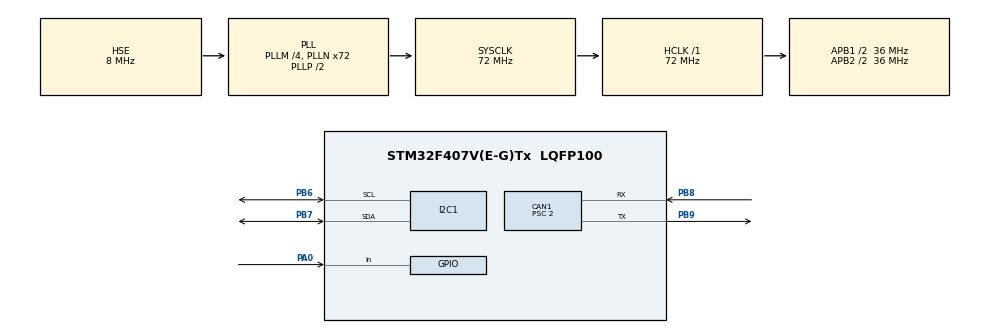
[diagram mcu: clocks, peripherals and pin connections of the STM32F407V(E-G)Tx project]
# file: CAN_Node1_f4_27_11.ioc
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CAN1.BS1=CAN_BS1_15TQ
CAN1.BS2=CAN_BS2_2TQ
CAN1.CalculateBaudRate=1000000
CAN1.CalculateTimeBit=1000
CAN1.CalculateTimeQuantum=55.55555555555556
CAN1.Prescaler=2
Mcu.Family=STM32F4
Mcu.Name=STM32F407V(E-G)Tx
Mcu.Package=LQFP100
NVIC.CAN1_RX0_IRQn=true\:0\:0\:false\:false\:true\:true\:true\:true
NVIC.PriorityGroup=NVIC_PRIORITYGROUP_0
NVIC.TIM7_IRQn=true\:0\:0\:false\:false\:true\:true\:true\:true
PA0-WKUP.Signal=GPIO_Input
PB6.Mode=I2C
PB6.Signal=I2C1_SCL
PB7.Mode=I2C
PB7.Signal=I2C1_SDA
PB8.Mode=CAN_Activate
PB8.Signal=CAN1_RX
PB9.Mode=CAN_Activate
PB9.Signal=CAN1_TX
PH0-OSC_IN.Mode=HSE-External-Oscillator
PH0-OSC_IN.Signal=RCC_OSC_IN
PH1-OSC_OUT.Mode=HSE-External-Oscillator
PH1-OSC_OUT.Signal=RCC_OSC_OUT
ProjectManager.HeapSize=0x200
ProjectManager.StackSize=0x400
ProjectManager.TargetToolchain=EWARM V8.50
RCC.48MHZClocksFreq_Value=20571428.57142857
RCC.AHBFreq_Value=72000000
RCC.APB1CLKDivider=RCC_HCLK_DIV2
RCC.APB1Freq_Value=36000000
RCC.APB1TimFreq_Value=72000000
RCC.APB2CLKDivider=RCC_HCLK_DIV2
RCC.APB2Freq_Value=36000000
RCC.APB2TimFreq_Value=72000000
RCC.CortexFreq_Value=72000000
RCC.HCLKFreq_Value=72000000
RCC.HSE_VALUE=8000000
RCC.HSI_VALUE=16000000
RCC.PLLM=4
RCC.PLLN=72
RCC.PLLQ=7
RCC.PLLSourceVirtual=RCC_PLLSOURCE_HSE
RCC.SYSCLKFreq_VALUE=72000000
RCC.SYSCLKSource=RCC_SYSCLKSOURCE_PLLCLK
RCC.VCOOutputFreq_Value=144000000
TIM6.Period=0xffff-1
TIM6.Prescaler=72-1
TIM7.Period=10000-1
TIM7.Prescaler=7200-1
VP_TIM6_VS_ClockSourceINT.Mode=Enable_Timer
VP_TIM7_VS_ClockSourceINT.Mode=Enable_Timer
board=STM32F407G-DISC1

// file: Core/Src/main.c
/* USER CODE BEGIN Header */
/**
  ******************************************************************************
  * @file           : main.c
  * @brief          : Main program body
  ******************************************************************************
  * @attention
  *
  * Copyright (c) 2022 STMicroelectronics.
  * All rights reserved.
  *
  * This software is licensed under terms that can be found in the LICENSE file
  * in the root directory of this software component.
  * If no LICENSE file comes with this software, it is provided AS-IS.
  *
  ******************************************************************************
  */
/* USER CODE END Header */
#include "main.h"
#include "BME280_STM32.h"
#include "temp.h"
#include <math.h>

/* USER CODE BEGIN PM */
float Temperature_DHT11 = 0;
/* USER CODE END PM */
float altitude ,pressure, p, temperature, humidity;
BMP280_HandleTypedef bmp280;
 CAN_HandleTypeDef hcan1;

I2C_HandleTypeDef hi2c1;

TIM_HandleTypeDef htim6;
TIM_HandleTypeDef htim7;

volatile uint8_t Flag = 0;
CAN_HandleTypeDef hcan1;
CAN_TxHeaderTypeDef TxHeader;
uint32_t TxMailbox;
CAN_RxHeaderTypeDef RxHeader;
/* USER CODE BEGIN PV */
uint8_t TxData[8U]; /* DHT11 to transmit */
uint8_t TxData1[8U]; /* DHT22 to transmit */
uint8_t RxData[8U];
/* USER CODE END PV */

void SystemClock_Config(void);
static void MX_GPIO_Init(void);
static void MX_CAN1_Init(void);
static void CAN_Filter_Config(void);
static void MX_I2C1_Init(void);
static void MX_TIM6_Init(void);
static void MX_TIM7_Init(void);
/* USER CODE BEGIN PFP */
void HAL_TIM_PeriodElapsedCallback(TIM_HandleTypeDef *htim)
{
  if (htim->Instance == htim7.Instance)
  {
   HAL_CAN_AddTxMessage(&hcan1,&TxHeader,TxData,&TxMailbox);
   HAL_CAN_AddTxMessage(&hcan1,&TxHeader,TxData1,&TxMailbox);
   Flag = 1;
  }
}
void HAL_CAN_RxFifo0MsgPendingCallback(CAN_HandleTypeDef *hcan)
{
  if (hcan->Instance == hcan1.Instance)

  if (HAL_OK != HAL_CAN_GetRxMessage(hcan,CAN_RX_FIFO0,&RxHeader,RxData))
  {
        Error_Handler();
  }
}

/* USER CODE END PFP */

int main(void)
{

  /* MCU Configuration--------------------------------------------------------*/

  /* Reset of all peripherals, Initializes the Flash interface and the Systick. */
  HAL_Init();

  /* Configure the system clock */
  SystemClock_Config();

  /* Initialize all configured peripherals */
  MX_GPIO_Init();
  MX_CAN1_Init();
  CAN_Filter_Config();
  /**
   * @brief Config CAN Data frame
   *
   */
  TxHeader.DLC = 8;
  TxHeader.IDE = CAN_ID_STD;
  TxHeader.RTR = CAN_RTR_DATA;
  TxHeader.StdId = 0x651;

  MX_I2C1_Init();

  bmp280_init_default_params(&bmp280.params);
  bmp280.addr = BMP280_I2C_ADDRESS_0;
  bmp280.i2c = &hi2c1;
  bmp280.id = BMP280_CHIP_ID;
  while (!(bmp280_init(&bmp280, &bmp280.params)))
  {
    bmp280_init_default_params(&bmp280.params);
    HAL_Delay(90);
  }

  MX_TIM6_Init();
  MX_TIM7_Init();
  /* USER CODE BEGIN 2 */
  /**
   * @brief Active CAN Controller
   *
   */
    if (HAL_OK != HAL_CAN_Start(&hcan1))
    {
      Error_Handler();
    }

    /**
     * @brief Active CAN notification - flag
     *
     */
    if (HAL_OK != HAL_CAN_ActivateNotification(&hcan1,CAN_IT_RX_FIFO0_MSG_PENDING))
    {
      Error_Handler();
    }
    /**
     * @brief Construct a new hal tim base start object
     *
     */
    HAL_TIM_Base_Start(&htim6);
    HAL_TIM_Base_Start_IT(&htim7);
  /* USER CODE END 2 */

  /* Infinite loop */
  /* USER CODE BEGIN WHILE */
  while (1)
  {
    if (Flag == 1)
    {
    /* USER CODE END WHILE */
/* DHT11 read and send process. */
    Temperature_DHT11 = DHT11_Data();

    TxData[0] = '1';
    TxData[1] = '.';
    TxData[2] = '0';
    TxData[3] = '0';
    TxData[4] = '0' + (uint8_t)Temperature_DHT11/ 100;
    TxData[5] = '0' + ((uint8_t)Temperature_DHT11 % 100)/10;
    TxData[6] = '0' + (uint8_t)Temperature_DHT11% 10;
    TxData[7] = '\n';
    HAL_CAN_AddTxMessage(&hcan1,&TxHeader,TxData,&TxMailbox);

    if (!bmp280_read_float(&bmp280, &temperature, &pressure, &humidity))
    {
	pressure = 0;
	altitude = 0;
    }
    else
    {
	p = pressure/100;
        altitude = 44330.0*(1-pow(p/1013.25, 1/5.255));
    }

    TxData1[0] = '2';
    TxData1[1] = '.';
    TxData1[2] = '0';
    TxData1[3] = '0';
    TxData1[4] = '0' + (uint8_t)temperature/ 100;
    TxData1[5] = '0' + ((uint8_t)temperature % 100)/10;
    TxData1[6] = '0' + (uint8_t)temperature% 10;
    TxData1[7] = '\n';
    HAL_CAN_AddTxMessage(&hcan1,&TxHeader,TxData1,&TxMailbox);

    Flag = 0;
    }
  }
}

void SystemClock_Config(void)
{
  RCC_OscInitTypeDef RCC_OscInitStruct = {0};
  RCC_ClkInitTypeDef RCC_ClkInitStruct = {0};

  /** Configure the main internal regulator output voltage
  */
  __HAL_RCC_PWR_CLK_ENABLE();
  __HAL_PWR_VOLTAGESCALING_CONFIG(PWR_REGULATOR_VOLTAGE_SCALE1);

  /** Initializes the RCC Oscillators according to the specified parameters
  * in the RCC_OscInitTypeDef structure.
  */
  RCC_OscInitStruct.OscillatorType = RCC_OSCILLATORTYPE_HSE;
  RCC_OscInitStruct.HSEState = RCC_HSE_ON;
  RCC_OscInitStruct.PLL.PLLState = RCC_PLL_ON;
  RCC_OscInitStruct.PLL.PLLSource = RCC_PLLSOURCE_HSE;
  RCC_OscInitStruct.PLL.PLLM = 4;
  RCC_OscInitStruct.PLL.PLLN = 72;
  RCC_OscInitStruct.PLL.PLLP = RCC_PLLP_DIV2;
  RCC_OscInitStruct.PLL.PLLQ = 7;
  if (HAL_RCC_OscConfig(&RCC_OscInitStruct) != HAL_OK)
  {
    Error_Handler();
  }

  /** Initializes the CPU, AHB and APB buses clocks
  */
  RCC_ClkInitStruct.ClockType = RCC_CLOCKTYPE_HCLK|RCC_CLOCKTYPE_SYSCLK
                              |RCC_CLOCKTYPE_PCLK1|RCC_CLOCKTYPE_PCLK2;
  RCC_ClkInitStruct.SYSCLKSource = RCC_SYSCLKSOURCE_PLLCLK;
  RCC_ClkInitStruct.AHBCLKDivider = RCC_SYSCLK_DIV1;
  RCC_ClkInitStruct.APB1CLKDivider = RCC_HCLK_DIV2;
  RCC_ClkInitStruct.APB2CLKDivider = RCC_HCLK_DIV2;

  if (HAL_RCC_ClockConfig(&RCC_ClkInitStruct, FLASH_LATENCY_2) != HAL_OK)
  {
    Error_Handler();
  }
}

static void MX_CAN1_Init(void)
{

  hcan1.Instance = CAN1;
  hcan1.Init.Prescaler = 2;
  hcan1.Init.Mode = CAN_MODE_NORMAL;
  hcan1.Init.SyncJumpWidth = CAN_SJW_1TQ;
  hcan1.Init.TimeSeg1 = CAN_BS1_15TQ;
  hcan1.Init.TimeSeg2 = CAN_BS2_2TQ;
  hcan1.Init.TimeTriggeredMode = DISABLE;
  hcan1.Init.AutoBusOff = DISABLE;
  hcan1.Init.AutoWakeUp = DISABLE;
  hcan1.Init.AutoRetransmission = DISABLE;
  hcan1.Init.ReceiveFifoLocked = DISABLE;
  hcan1.Init.TransmitFifoPriority = DISABLE;
  if (HAL_CAN_Init(&hcan1) != HAL_OK)
  {
    Error_Handler();
  }

}
static void CAN_Filter_Config(void)
{
  CAN_FilterTypeDef can1_filter_init;

  can1_filter_init.FilterActivation = ENABLE;
  can1_filter_init.FilterBank  = 0;
  can1_filter_init.FilterFIFOAssignment = CAN_FILTER_FIFO0;
  can1_filter_init.FilterIdHigh = (0X446)<<5;
  can1_filter_init.FilterIdLow = 0x0000;
  can1_filter_init.FilterMaskIdHigh = (0X651)<<5;
  can1_filter_init.FilterMaskIdLow = 0x0000;
  can1_filter_init.FilterMode = CAN_FILTERMODE_IDLIST;
  can1_filter_init.FilterScale = CAN_FILTERSCALE_32BIT;
  //can1_filter_init.SlaveStartFilterBank = 0; /* doesn't mastter in signel can controller */

  if( HAL_CAN_ConfigFilter(&hcan1,&can1_filter_init) != HAL_OK)
  {
    Error_Handler();
  }
}
static void MX_I2C1_Init(void)
{

  hi2c1.Instance = I2C1;
  hi2c1.Init.ClockSpeed = 100000;
  hi2c1.Init.DutyCycle = I2C_DUTYCYCLE_2;
  hi2c1.Init.OwnAddress1 = 0;
  hi2c1.Init.AddressingMode = I2C_ADDRESSINGMODE_7BIT;
  hi2c1.Init.DualAddressMode = I2C_DUALADDRESS_DISABLE;
  hi2c1.Init.OwnAddress2 = 0;
  hi2c1.Init.GeneralCallMode = I2C_GENERALCALL_DISABLE;
  hi2c1.Init.NoStretchMode = I2C_NOSTRETCH_DISABLE;
  if (HAL_I2C_Init(&hi2c1) != HAL_OK)
  {
    Error_Handler();
  }

}

static void MX_TIM6_Init(void)
{

  TIM_MasterConfigTypeDef sMasterConfig = {0};

  htim6.Instance = TIM6;
  htim6.Init.Prescaler = 72-1;
  htim6.Init.CounterMode = TIM_COUNTERMODE_UP;
  htim6.Init.Period = 0xffff-1;
  htim6.Init.AutoReloadPreload = TIM_AUTORELOAD_PRELOAD_DISABLE;
  if (HAL_TIM_Base_Init(&htim6) != HAL_OK)
  {
    Error_Handler();
  }
  sMasterConfig.MasterOutputTrigger = TIM_TRGO_RESET;
  sMasterConfig.MasterSlaveMode = TIM_MASTERSLAVEMODE_DISABLE;
  if (HAL_TIMEx_MasterConfigSynchronization(&htim6, &sMasterConfig) != HAL_OK)
  {
    Error_Handler();
  }

}

static void MX_TIM7_Init(void)
{

  TIM_MasterConfigTypeDef sMasterConfig = {0};

  htim7.Instance = TIM7;
  htim7.Init.Prescaler = 7200-1;
  htim7.Init.CounterMode = TIM_COUNTERMODE_UP;
  htim7.Init.Period = 10000-1;
  htim7.Init.AutoReloadPreload = TIM_AUTORELOAD_PRELOAD_DISABLE;
  if (HAL_TIM_Base_Init(&htim7) != HAL_OK)
  {
    Error_Handler();
  }
  sMasterConfig.MasterOutputTrigger = TIM_TRGO_RESET;
  sMasterConfig.MasterSlaveMode = TIM_MASTERSLAVEMODE_DISABLE;
  if (HAL_TIMEx_MasterConfigSynchronization(&htim7, &sMasterConfig) != HAL_OK)
  {
    Error_Handler();
  }

}

static void MX_GPIO_Init(void)
{
  GPIO_InitTypeDef GPIO_InitStruct = {0};

  /* GPIO Ports Clock Enable */
  __HAL_RCC_GPIOH_CLK_ENABLE();
  __HAL_RCC_GPIOA_CLK_ENABLE();
  __HAL_RCC_GPIOB_CLK_ENABLE();

  /*Configure GPIO pin : PA0 */
  GPIO_InitStruct.Pin = GPIO_PIN_0;
  GPIO_InitStruct.Mode = GPIO_MODE_INPUT;
  GPIO_InitStruct.Pull = GPIO_NOPULL;
  HAL_GPIO_Init(GPIOA, &GPIO_InitStruct);

}

void Error_Handler(void)
{
  __disable_irq();
  while (1)
  {
  }
}
